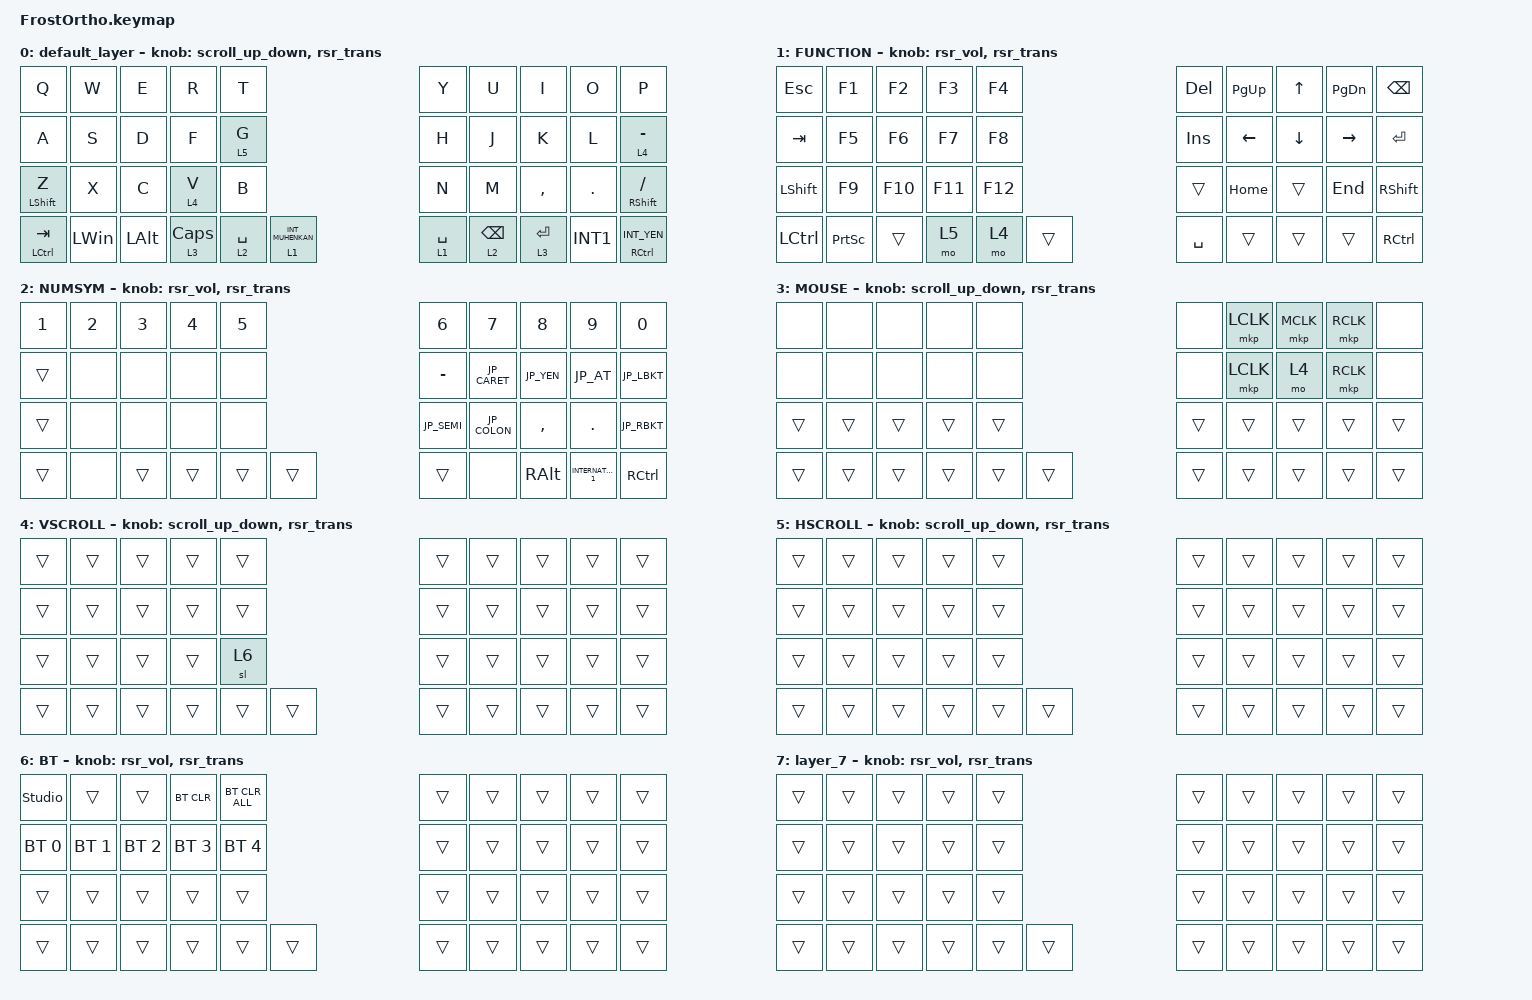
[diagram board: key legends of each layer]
#include <input/processors.dtsi>
#include <behaviors/runtime-sensor-rotate.dtsi>
#include <behaviors/runtime_macro.dtsi>
#include <behaviors.dtsi>
#include <dt-bindings/zmk/bt.h>
#include <dt-bindings/zmk/keys.h>
#include <dt-bindings/zmk/pointing.h>
#include "keycode_japanese.h"

#define MOUSE 3

&mt {
    flavor = "balanced";
    quick-tap-ms = <0>;
};

// AML クリックしたときにタイムアウトを延長
//&mkp_input_listener { input-processors = <&zip_temp_layer 3 10000>; };

&mkp_input_listener {
    input-processors = <&zip_temp_layer 3 700>;
};

/ {
    runtime_combo_defaults {
        compatible = "cormoran,runtime-combo-defaults";

        COMBO_ESC {
            bindings = <&kp ESCAPE>;
            key-positions = <0 1>;
            display-name = "Esc";
        };

        COMBO_TAB {
            bindings = <&kp TAB>;
            key-positions = <10 11>;
            display-name = "Tab";
        };

        COMB_BS {
            bindings = <&kp BACKSPACE>;
            key-positions = <8 9>;
            display-name = "Backspace";
        };

        COMBO_ENTER {
            bindings = <&kp ENTER>;
            key-positions = <18 19>;
            display-name = "Enter";
        };

        COMBO_DEL {
            bindings = <&kp DELETE>;
            key-positions = <7 8>;
            display-name = "Del";
        };

        COMBO_INS {
            bindings = <&kp INSERT>;
            key-positions = <6 7>;
            display-name = "Ins";
        };

        COMBO_ZENHAN {
            bindings = <&kp JP_ZKHK>;
            key-positions = <20 21>;
            display-name = "ZENHAN";
        };

        VSCROLL {
            bindings = <&mo 4>;
            key-positions = <35 34>;
            display-name = "VSCROLL";
        };
    };

    combos {
        compatible = "zmk,combos";

        COMBO_ESC {
            bindings = <&kp ESCAPE>;
            key-positions = <0 1>;
        };

        COMBO_TAB {
            bindings = <&kp TAB>;
            key-positions = <10 11>;
        };

        COMB_BS {
            bindings = <&kp BACKSPACE>;
            key-positions = <8 9>;
        };

        COMBO_ENTER {
            bindings = <&kp ENTER>;
            key-positions = <18 19>;
        };

        COMBO_DEL {
            bindings = <&kp DELETE>;
            key-positions = <7 8>;
        };

        COMBO_INS {
            bindings = <&kp INSERT>;
            key-positions = <6 7>;
        };

        //COMBO_ZENHAN {
        //    bindings = <&kp JP_ZKHK>;
        //    key-positions = <20 21>;
        //};

        VSCROLL {
            bindings = <&mo 4>;
            key-positions = <35 34>;
        };
    };

    macros {
        to_layer_0: to_layer_0 {
            compatible = "zmk,behavior-macro-one-param";
            #binding-cells = <1>;
            bindings = <&to 0 &macro_param_1to1 &kp MACRO_PLACEHOLDER>;
            label = "TO_LAYER_0";
        };

        hold_mouse_layer: hold_mouse_layer {
            compatible = "zmk,behavior-macro";
            wait-ms = <0>;
            tap-ms = <0>;
            #binding-cells = <0>;
            bindings = <&tog_on MOUSE>;
            label = "hold_mouse_layer";
        };

        release_mouse_layer: release_mouse_layer {
            compatible = "zmk,behavior-macro";
            wait-ms = <0>;
            tap-ms = <0>;
            #binding-cells = <0>;
            bindings = <&tog_off MOUSE>;
            label = "release_mouse_layer";
        };

        screenshot: screenshot {
            compatible = "zmk,behavior-macro";
            #binding-cells = <0>;
            bindings =
                <&to 7>,
                <&macro_press>,
                <&kp LEFT_WIN &kp LEFT_SHIFT &kp S>,
                <&macro_release>,
                <&kp LEFT_WIN &kp LEFT_SHIFT &kp S>;

            label = "SCREENSHOT";
        };
    };

    behaviors {
        lt_to_layer_0: lt_to_layer_0 {
            compatible = "zmk,behavior-hold-tap";
            label = "LAYER_TAP_TO_0";
            bindings = <&mo>, <&to_layer_0>;

            #binding-cells = <2>;
            tapping-term-ms = <300>;
        };

        tog_on: toggle_layer_on_only {
            compatible = "zmk,behavior-toggle-layer";
            #binding-cells = <1>;
            display-name = "Toggle Layer On";
            toggle-mode = "on";
        };

        tog_off: toggle_layer_off_only {
            compatible = "zmk,behavior-toggle-layer";
            #binding-cells = <1>;
            display-name = "Toggle Layer Off";
            toggle-mode = "off";
        };

        // Kyemap Editor用

        scroll_up_down: behavior_sensor_rotate_mouse_wheel_up_down {
            compatible = "zmk,behavior-sensor-rotate";
            #sensor-binding-cells = <0>;
            tap-ms = <20>;
            //tap-ms = <250>;
            //bindings = <&msc SCRL_UP>, <&msc SCRL_DOWN>;
            bindings = <&msc MOVE_Y(240)>, <&msc MOVE_Y(-240)>;
        };

        vol_up_down: vol_up_down {
            compatible = "zmk,behavior-sensor-rotate";
            #sensor-binding-cells = <0>;
            tap-ms = <5>;
            bindings = <&kp C_VOL_DN>, <&kp C_VOL_UP>;
        };

        // DYA Studio用

        rsr_vol: rsr_vol {
            compatible = "zmk,behavior-runtime-sensor-rotate";
            #sensor-binding-cells = <0>;
            tap-ms = <5>;
            cw-binding = <&kp C_VOL_DN>;
            ccw-binding = <&kp C_VOL_UP>;
        };
    };

    keymap {
        compatible = "zmk,keymap";

        default_layer {
            bindings = <
&kp Q                 &kp W         &kp E         &kp R           &kp T                                &kp Y        &kp U            &kp I        &kp O       &kp P
&kp A                 &kp S         &kp D         &kp F           &lt 5 G                              &kp H        &kp J            &kp K        &kp L       &lt 4 MINUS
&mt LEFT_SHIFT Z      &kp X         &kp C         &lt 4 V         &kp B                                &kp N        &kp M            &kp COMMA    &kp PERIOD  &mt RIGHT_SHIFT SLASH
&mt LEFT_CONTROL TAB  &kp LEFT_WIN  &kp LEFT_ALT  &lt 3 CAPSLOCK  &lt 2 SPACE  &lt 1 INT_MUHENKAN      &lt 1 SPACE  &lt 2 BACKSPACE  &lt 3 ENTER  &kp INT1    &mt RCTRL INT_YEN
            >;

            sensor-bindings = <&scroll_up_down>, <&rsr_trans>;
        };

        FUNCTION {
            bindings = <
&kp ESCAPE  &kp F1           &kp F2   &kp F3   &kp F4               &kp DELETE  &kp PG_UP  &kp UP_ARROW  &kp PAGE_DOWN  &kp BACKSPACE
&kp TAB     &kp F5           &kp F6   &kp F7   &kp F8               &kp INS     &kp LEFT   &kp DOWN      &kp RIGHT      &kp ENTER
&kp LSHIFT  &kp F9           &kp F10  &kp F11  &kp F12              &trans      &kp HOME   &trans        &kp END        &kp RIGHT_SHIFT
&kp LCTRL   &kp PRINTSCREEN  &trans   &mo 5    &mo 4    &trans      &kp SPACE   &trans     &trans        &trans         &kp RCTRL
            >;

            sensor-bindings = <&rsr_vol &rsr_trans>;
        };

        NUMSYM {
            bindings = <
&kp NUMBER_1  &kp NUMBER_2  &kp NUMBER_3  &kp NUMBER_4  &kp N5              &kp NUMBER_6  &kp N7        &kp N8      &kp N9               &kp N0
&trans        &none         &none         &none         &none               &kp MINUS     &kp JP_CARET  &kp JP_YEN  &kp JP_AT            &kp JP_LBKT
&trans        &none         &none         &none         &none               &kp JP_SEMI   &kp JP_COLON  &kp COMMA   &kp PERIOD           &kp JP_RBKT
&trans        &none         &trans        &trans        &trans  &trans      &trans        &none         &kp RALT    &kp INTERNATIONAL_1  &kp RCTRL
            >;

            sensor-bindings = <&rsr_vol &rsr_trans>;
        };

        MOUSE {
            bindings = <
&none   &none   &none   &none   &none               &none   &mkp LCLK  &mkp MCLK  &mkp RCLK  &none
&none   &none   &none   &none   &none               &none   &mkp LCLK  &mo 4      &mkp RCLK  &none
&trans  &trans  &trans  &trans  &trans              &trans  &trans     &trans     &trans     &trans
&trans  &trans  &trans  &trans  &trans  &trans      &trans  &trans     &trans     &trans     &trans
            >;

            sensor-bindings = <&scroll_up_down>, <&rsr_trans>;
        };

        VSCROLL {
            bindings = <
&trans  &trans  &trans  &trans  &trans              &trans  &trans  &trans  &trans  &trans
&trans  &trans  &trans  &trans  &trans              &trans  &trans  &trans  &trans  &trans
&trans  &trans  &trans  &trans  &sl 6               &trans  &trans  &trans  &trans  &trans
&trans  &trans  &trans  &trans  &trans  &trans      &trans  &trans  &trans  &trans  &trans
            >;

            sensor-bindings = <&scroll_up_down>, <&rsr_trans>;
        };

        HSCROLL {
            bindings = <
&trans  &trans  &trans  &trans  &trans              &trans  &trans  &trans  &trans  &trans
&trans  &trans  &trans  &trans  &trans              &trans  &trans  &trans  &trans  &trans
&trans  &trans  &trans  &trans  &trans              &trans  &trans  &trans  &trans  &trans
&trans  &trans  &trans  &trans  &trans  &trans      &trans  &trans  &trans  &trans  &trans
            >;

            sensor-bindings = <&scroll_up_down>, <&rsr_trans>;
        };

        BT {
            bindings = <
&studio_unlock  &trans        &trans        &bt BT_CLR    &bt BT_CLR_ALL              &trans  &trans  &trans  &trans  &trans
&bt BT_SEL 0    &bt BT_SEL 1  &bt BT_SEL 2  &bt BT_SEL 3  &bt BT_SEL 4                &trans  &trans  &trans  &trans  &trans
&trans          &trans        &trans        &trans        &trans                      &trans  &trans  &trans  &trans  &trans
&trans          &trans        &trans        &trans        &trans          &trans      &trans  &trans  &trans  &trans  &trans
            >;

            sensor-bindings = <&rsr_vol &rsr_trans>;
        };

        layer_7 {
            bindings = <
&trans  &trans  &trans  &trans  &trans              &trans  &trans  &trans  &trans  &trans
&trans  &trans  &trans  &trans  &trans              &trans  &trans  &trans  &trans  &trans
&trans  &trans  &trans  &trans  &trans              &trans  &trans  &trans  &trans  &trans
&trans  &trans  &trans  &trans  &trans  &trans      &trans  &trans  &trans  &trans  &trans
            >;

            sensor-bindings = <&rsr_vol &rsr_trans>;
        };
    };
};
